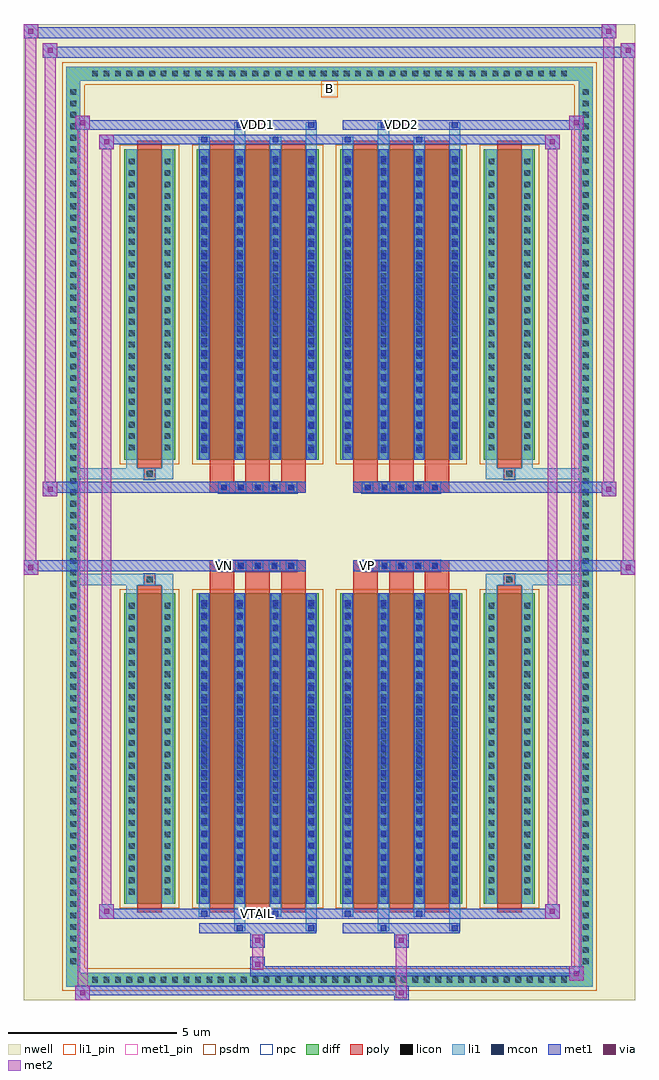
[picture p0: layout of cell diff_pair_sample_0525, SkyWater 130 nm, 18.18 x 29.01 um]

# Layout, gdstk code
import gdstk
lib = gdstk.Library(unit=1e-6, precision=5e-09)
def R(c, l, rs):  # rectangles x0, y0, x1, y1
    for r in rs: c.add(gdstk.rectangle(r[:2], r[2:], *l))
def A(c, l, x, y, w, h, nx, ny, dx, dy):  # array of equal rectangles
    R(c, l, [(x+i*dx, y+j*dy, x+i*dx+w, y+j*dy+h) for i in range(nx) for j in range(ny)])
def P(c, l, *ps):  # polygons
    for p in ps: c.add(gdstk.Polygon(p, *l))
nwell = (64, 20)
diff = (65, 20)
poly = (66, 20)
licon = (66, 44)
li1_pin = (67, 16)
li1 = (67, 20)
mcon = (67, 44)
met1_pin = (68, 16)
met1 = (68, 20)
via = (68, 44)
met2 = (69, 20)
psdm = (94, 20)
npc = (95, 20)

diff_pair_sample_0525 = lib.new_cell('diff_pair_sample_0525')
R(diff_pair_sample_0525, nwell, [(-9.09,-14.07,9.09,14.94), (-6.41,-12.26,-0.01,-0.8), (0.01,-12.26,6.41,-0.8), (-6.41,0.8,-0.01,12.26), (0.01,0.8,6.41,12.26)])
A(diff_pair_sample_0525, diff, -7.175, -13.67, 0.41, 0.41, 42, 2, 0.34, 26.93)
A(diff_pair_sample_0525, diff, -7.82, -13.125, 0.41, 0.41, 1, 77, 0, 0.34)
A(diff_pair_sample_0525, diff, 7.41, -13.125, 0.41, 0.41, 1, 77, 0, 0.34)
R(diff_pair_sample_0525, diff, [(-7.175,-13.67,7.175,-13.26), (-7.82,-13.125,-7.41,13.125), (7.41,-13.125,7.82,13.125), (-6.1,-11.215,-4.59,-1.985), (-3.95,-11.215,-0.32,-1.985), (0.32,-11.215,3.95,-1.985), (4.59,-11.215,6.1,-1.985), (-6.1,1.985,-4.59,11.215), (-3.95,1.985,-0.32,11.215), (0.32,1.985,3.95,11.215), (4.59,1.985,6.1,11.215), (-7.175,13.26,7.175,13.67)])
P(diff_pair_sample_0525, diff, [(7.82,13.67),(-7.82,13.67),(-7.82,-13.26),(-7.41,-13.26),(-7.41,13.26),(7.41,13.26),(7.41,-13.26),(-7.41,-13.26),(-7.82,-13.26),(-7.82,-13.67),(7.82,-13.67)])
A(diff_pair_sample_0525, poly, -3.56, -11.465, 0.73, 9.73, 3, 2, 1.06, 13.2)
A(diff_pair_sample_0525, poly, 0.71, -11.465, 0.73, 9.73, 3, 2, 1.06, 13.2)
A(diff_pair_sample_0525, poly, -3.56, -1.735, 0.73, 0.405, 3, 2, 1.06, 3.065)
A(diff_pair_sample_0525, poly, 0.71, -1.735, 0.73, 0.405, 3, 2, 1.06, 3.065)
A(diff_pair_sample_0525, poly, -3.3, -1.33, 0.33, 0.33, 5, 2, 0.5, 2.33)
A(diff_pair_sample_0525, poly, 0.97, -1.33, 0.33, 0.33, 5, 2, 0.5, 2.33)
R(diff_pair_sample_0525, poly, [(-5.71,-11.465,-4.98,-1.735), (4.98,-11.465,5.71,-1.735), (-5.51,-1.735,-5.18,-1.405), (-5.51,-1.735,-5.18,-1.405), (5.18,-1.735,5.51,-1.405), (5.18,-1.735,5.51,-1.405), (-3.56,-1.33,-0.71,-1), (0.71,-1.33,3.56,-1), (-3.56,1,-0.71,1.33), (0.71,1,3.56,1.33), (-5.51,1.405,-5.18,1.735), (-5.51,1.405,-5.18,1.735), (5.18,1.405,5.51,1.735), (5.18,1.405,5.51,1.735), (-5.71,1.735,-4.98,11.465), (4.98,1.735,5.71,11.465)])
A(diff_pair_sample_0525, licon, -7.055, -13.55, 0.17, 0.17, 42, 2, 0.34, 26.93)
A(diff_pair_sample_0525, licon, -7.7, -13.005, 0.17, 0.17, 1, 77, 0, 0.34)
A(diff_pair_sample_0525, licon, 7.53, -13.005, 0.17, 0.17, 1, 77, 0, 0.34)
A(diff_pair_sample_0525, licon, -5.96, -10.935, 0.17, 0.17, 1, 26, 0, 0.34)
A(diff_pair_sample_0525, licon, -4.9, -10.935, 0.17, 0.17, 1, 26, 0, 0.34)
A(diff_pair_sample_0525, licon, -3.81, -10.935, 0.17, 0.17, 4, 26, 1.06, 0.34)
A(diff_pair_sample_0525, licon, 0.46, -10.935, 0.17, 0.17, 4, 26, 1.06, 0.34)
A(diff_pair_sample_0525, licon, 4.73, -10.935, 0.17, 0.17, 1, 26, 0, 0.34)
A(diff_pair_sample_0525, licon, 5.79, -10.935, 0.17, 0.17, 1, 26, 0, 0.34)
A(diff_pair_sample_0525, licon, -3.22, -1.25, 0.17, 0.17, 5, 2, 0.5, 2.33)
A(diff_pair_sample_0525, licon, 1.05, -1.25, 0.17, 0.17, 5, 2, 0.5, 2.33)
A(diff_pair_sample_0525, licon, -5.96, 2.265, 0.17, 0.17, 1, 26, 0, 0.34)
A(diff_pair_sample_0525, licon, -4.9, 2.265, 0.17, 0.17, 1, 26, 0, 0.34)
A(diff_pair_sample_0525, licon, -3.81, 2.265, 0.17, 0.17, 4, 26, 1.06, 0.34)
A(diff_pair_sample_0525, licon, 0.46, 2.265, 0.17, 0.17, 4, 26, 1.06, 0.34)
A(diff_pair_sample_0525, licon, 4.73, 2.265, 0.17, 0.17, 1, 26, 0, 0.34)
A(diff_pair_sample_0525, licon, 5.79, 2.265, 0.17, 0.17, 1, 26, 0, 0.34)
R(diff_pair_sample_0525, licon, [(-5.43,-1.655,-5.26,-1.485), (5.26,-1.655,5.43,-1.485), (-5.43,1.485,-5.26,1.655), (5.26,1.485,5.43,1.655)])
R(diff_pair_sample_0525, li1_pin, [(-0.25,12.76,0.25,13.26)])
A(diff_pair_sample_0525, li1, -7.135, -13.63, 0.33, 0.33, 42, 2, 0.34, 26.93)
A(diff_pair_sample_0525, li1, -7.78, -13.085, 0.33, 0.33, 1, 77, 0, 0.34)
A(diff_pair_sample_0525, li1, 7.45, -13.085, 0.33, 0.33, 1, 77, 0, 0.34)
A(diff_pair_sample_0525, li1, -3.89, -11.215, 0.33, 9.23, 4, 2, 1.06, 13.2)
A(diff_pair_sample_0525, li1, 0.38, -11.215, 0.33, 9.23, 4, 2, 1.06, 13.2)
A(diff_pair_sample_0525, li1, -6.04, -11.015, 0.33, 0.33, 1, 26, 0, 0.34)
A(diff_pair_sample_0525, li1, -4.98, -11.015, 0.33, 0.33, 1, 26, 0, 0.34)
A(diff_pair_sample_0525, li1, -3.89, -11.015, 0.33, 0.33, 4, 26, 1.06, 0.34)
A(diff_pair_sample_0525, li1, 0.38, -11.015, 0.33, 0.33, 4, 26, 1.06, 0.34)
A(diff_pair_sample_0525, li1, 4.65, -11.015, 0.33, 0.33, 1, 26, 0, 0.34)
A(diff_pair_sample_0525, li1, 5.71, -11.015, 0.33, 0.33, 1, 26, 0, 0.34)
A(diff_pair_sample_0525, li1, -3.81, -11.005, 0.17, 0.17, 4, 25, 1.06, 0.36)
A(diff_pair_sample_0525, li1, -3.81, -11.005, 0.17, 8.81, 4, 2, 1.06, 13.2)
A(diff_pair_sample_0525, li1, 0.46, -11.005, 0.17, 0.17, 4, 25, 1.06, 0.36)
A(diff_pair_sample_0525, li1, 0.46, -11.005, 0.17, 8.81, 4, 2, 1.06, 13.2)
A(diff_pair_sample_0525, li1, -3.3, -1.33, 0.33, 0.33, 5, 2, 0.5, 2.33)
A(diff_pair_sample_0525, li1, 0.97, -1.33, 0.33, 0.33, 5, 2, 0.5, 2.33)
A(diff_pair_sample_0525, li1, -6.04, 2.185, 0.33, 0.33, 1, 26, 0, 0.34)
A(diff_pair_sample_0525, li1, -4.98, 2.185, 0.33, 0.33, 1, 26, 0, 0.34)
A(diff_pair_sample_0525, li1, -3.89, 2.185, 0.33, 0.33, 4, 26, 1.06, 0.34)
A(diff_pair_sample_0525, li1, 0.38, 2.185, 0.33, 0.33, 4, 26, 1.06, 0.34)
A(diff_pair_sample_0525, li1, 4.65, 2.185, 0.33, 0.33, 1, 26, 0, 0.34)
A(diff_pair_sample_0525, li1, 5.71, 2.185, 0.33, 0.33, 1, 26, 0, 0.34)
A(diff_pair_sample_0525, li1, -3.81, 2.195, 0.17, 0.17, 4, 25, 1.06, 0.36)
A(diff_pair_sample_0525, li1, 0.46, 2.195, 0.17, 0.17, 4, 25, 1.06, 0.36)
R(diff_pair_sample_0525, li1, [(-7.82,-13.67,-7.41,-13.26), (-7.82,-13.67,-7.41,-13.26), (-7.41,-13.67,7.41,-13.26), (7.41,-13.67,7.82,-13.26), (7.41,-13.67,7.82,-13.26), (-7.82,-13.26,-7.41,13.26), (7.41,-13.26,7.82,13.26), (-2.83,-12.02,-2.5,-11.215), (-2.75,-12.02,-2.58,-11.85), (-0.71,-12.02,-0.38,-11.215), (-0.63,-12.02,-0.46,-11.85), (1.44,-12.02,1.77,-11.215), (1.52,-12.02,1.69,-11.85), (3.56,-12.02,3.89,-11.215), (3.64,-12.02,3.81,-11.85), (-3.89,-11.59,-3.56,-11.215), (-3.81,-11.59,-3.64,-11.42), (-1.77,-11.59,-1.44,-11.215), (-1.69,-11.59,-1.52,-11.42), (0.38,-11.59,0.71,-11.215), (0.46,-11.59,0.63,-11.42), (2.5,-11.59,2.83,-11.215), (2.58,-11.59,2.75,-11.42), (-6.04,-11.215,-5.71,-1.985), (-4.98,-11.215,-4.65,-1.985), (4.65,-11.215,4.98,-1.985), (5.71,-11.215,6.04,-1.985), (-6.04,-1.985,-5.71,-1.405), (-4.98,-1.985,-4.65,-1.405), (4.65,-1.985,4.98,-1.405), (5.71,-1.985,6.04,-1.405), (-7.82,-1.735,-5.51,-1.405), (-6.04,-1.735,-5.51,-1.405), (-5.51,-1.735,-5.18,-1.405), (-5.18,-1.735,-4.65,-1.405), (4.65,-1.735,5.18,-1.405), (5.18,-1.735,5.51,-1.405), (5.18,-1.735,7.82,-1.405), (5.51,-1.735,6.04,-1.405), (-7.82,1.405,-5.51,1.735), (-6.04,1.405,-5.51,1.735), (-6.04,1.405,-5.71,1.985), (-5.51,1.405,-5.18,1.735), (-5.18,1.405,-4.65,1.735), (-4.98,1.405,-4.65,1.985), (4.65,1.405,5.18,1.735), (4.65,1.405,4.98,1.985), (5.18,1.405,5.51,1.735), (5.18,1.405,7.82,1.735), (5.51,1.405,6.04,1.735), (5.71,1.405,6.04,1.985), (-6.04,1.985,-5.71,11.215), (-4.98,1.985,-4.65,11.215), (4.65,1.985,4.98,11.215), (5.71,1.985,6.04,11.215), (-3.89,11.215,-3.56,11.59), (-2.83,11.215,-2.5,12.02), (-1.77,11.215,-1.44,11.59), (-0.71,11.215,-0.38,12.02), (0.38,11.215,0.71,11.59), (1.44,11.215,1.77,12.02), (2.5,11.215,2.83,11.59), (3.56,11.215,3.89,12.02), (-3.81,11.42,-3.64,11.59), (-1.69,11.42,-1.52,11.59), (0.46,11.42,0.63,11.59), (2.58,11.42,2.75,11.59), (-2.75,11.85,-2.58,12.02), (-0.63,11.85,-0.46,12.02), (1.52,11.85,1.69,12.02), (3.64,11.85,3.81,12.02), (-7.82,13.26,-7.41,13.67), (-7.82,13.26,-7.41,13.67), (-7.41,13.26,7.41,13.67), (7.41,13.26,7.82,13.67), (7.41,13.26,7.82,13.67)])
A(diff_pair_sample_0525, mcon, -3.81, -11.005, 0.17, 0.17, 4, 25, 1.06, 0.36)
A(diff_pair_sample_0525, mcon, 0.46, -11.005, 0.17, 0.17, 4, 25, 1.06, 0.36)
A(diff_pair_sample_0525, mcon, -3.22, -1.25, 0.17, 0.17, 5, 2, 0.5, 2.33)
A(diff_pair_sample_0525, mcon, 1.05, -1.25, 0.17, 0.17, 5, 2, 0.5, 2.33)
A(diff_pair_sample_0525, mcon, -3.81, 2.195, 0.17, 0.17, 4, 25, 1.06, 0.36)
A(diff_pair_sample_0525, mcon, 0.46, 2.195, 0.17, 0.17, 4, 25, 1.06, 0.36)
R(diff_pair_sample_0525, mcon, [(-2.75,-12.02,-2.58,-11.85), (-0.63,-12.02,-0.46,-11.85), (1.52,-12.02,1.69,-11.85), (3.64,-12.02,3.81,-11.85), (-3.81,-11.59,-3.64,-11.42), (-1.69,-11.59,-1.52,-11.42), (0.46,-11.59,0.63,-11.42), (2.58,-11.59,2.75,-11.42), (-3.81,11.42,-3.64,11.59), (-1.69,11.42,-1.52,11.59), (0.46,11.42,0.63,11.59), (2.58,11.42,2.75,11.59), (-2.75,11.85,-2.58,12.02), (-0.63,11.85,-0.46,12.02), (1.52,11.85,1.69,12.02), (3.64,11.85,3.81,12.02)])
R(diff_pair_sample_0525, met1_pin, [(-2.27,-11.63,-2,-11.36), (-3.27,-1.29,-3,-1.02), (1,-1.29,1.27,-1.02), (-2.27,11.81,-2,12.08), (2,11.81,2.27,12.08)])
A(diff_pair_sample_0525, met1, -3.87, -11.215, 0.29, 9.23, 4, 2, 1.06, 13.2)
A(diff_pair_sample_0525, met1, 0.4, -11.215, 0.29, 9.23, 4, 2, 1.06, 13.2)
A(diff_pair_sample_0525, met1, -3.87, -11.065, 0.29, 0.29, 4, 25, 1.06, 0.36)
A(diff_pair_sample_0525, met1, 0.4, -11.065, 0.29, 0.29, 4, 25, 1.06, 0.36)
A(diff_pair_sample_0525, met1, -3.28, -1.31, 0.29, 0.29, 5, 2, 0.5, 2.33)
A(diff_pair_sample_0525, met1, 0.99, -1.31, 0.29, 0.29, 5, 2, 0.5, 2.33)
A(diff_pair_sample_0525, met1, -3.87, 2.135, 0.29, 0.29, 4, 25, 1.06, 0.36)
A(diff_pair_sample_0525, met1, 0.4, 2.135, 0.29, 0.29, 4, 25, 1.06, 0.36)
R(diff_pair_sample_0525, met1, [(-7.55,-14.07,-7.12,-13.64), (1.92,-14.07,2.35,-13.64), (-7.55,-13.93,2.35,-13.64), (7.12,-13.5,7.55,-13.07), (-2.35,-13.36,7.55,-13.07), (-2.35,-13.22,-1.92,-12.79), (-2.35,-12.51,-1.92,-12.08), (1.92,-12.51,2.35,-12.08), (-3.87,-12.08,-0.4,-11.79), (-2.81,-12.08,-2.52,-11.79), (-0.69,-12.08,-0.4,-11.79), (0.4,-12.08,3.87,-11.79), (1.46,-12.08,1.75,-11.79), (3.58,-12.08,3.87,-11.79), (-6.84,-11.65,-6.41,-11.22), (-6.84,-11.65,-3.87,-11.36), (-3.87,-11.65,-3.58,-11.36), (-3.87,-11.65,-0.4,-11.36), (-1.75,-11.65,-1.46,-11.36), (-0.4,-11.65,0.4,-11.36), (0.4,-11.65,0.69,-11.36), (0.4,-11.65,3.87,-11.36), (2.52,-11.65,2.81,-11.36), (3.87,-11.65,6.84,-11.36), (6.41,-11.65,6.84,-11.22), (-9.09,-1.43,-8.66,-1), (8.66,-1.43,9.09,-1), (-9.09,-1.33,-0.71,-1), (-3.56,-1.33,-0.71,-1), (0.71,-1.33,3.56,-1), (0.71,-1.33,9.09,-1), (-8.52,0.9,-8.09,1.33), (8.09,0.9,8.52,1.33), (-8.52,1,-3.56,1.33), (-3.56,1,-0.71,1.33), (0.71,1,3.56,1.33), (3.56,1,8.52,1.33), (-6.84,11.22,-6.41,11.65), (6.41,11.22,6.84,11.65), (-6.84,11.36,-3.87,11.65), (-3.87,11.36,-3.58,11.65), (-3.87,11.36,-0.4,11.65), (-1.75,11.36,-1.46,11.65), (-0.4,11.36,0.4,11.65), (0.4,11.36,0.69,11.65), (0.4,11.36,3.87,11.65), (2.52,11.36,2.81,11.65), (3.87,11.36,6.84,11.65), (-7.55,11.79,-7.12,12.22), (-7.55,11.79,-3.87,12.08), (-3.87,11.79,-0.4,12.08), (-2.81,11.79,-2.52,12.08), (-0.69,11.79,-0.4,12.08), (0.4,11.79,3.87,12.08), (1.46,11.79,1.75,12.08), (3.58,11.79,3.87,12.08), (3.87,11.79,7.55,12.08), (7.12,11.79,7.55,12.22), (-8.52,13.94,-8.09,14.37), (-8.52,13.94,-6.41,14.27), (-6.41,13.94,6.41,14.27), (6.41,13.94,9.09,14.27), (8.66,13.94,9.09,14.37), (-9.09,14.51,-8.66,14.94), (-9.09,14.51,-6.41,14.84), (-6.41,14.51,6.41,14.84), (6.41,14.51,8.52,14.84), (8.09,14.51,8.52,14.94)])
R(diff_pair_sample_0525, via, [(-7.41,-13.93,-7.26,-13.78), (2.06,-13.93,2.21,-13.78), (7.26,-13.36,7.41,-13.21), (-2.21,-13.08,-2.06,-12.93), (-2.21,-12.37,-2.06,-12.22), (2.06,-12.37,2.21,-12.22), (-6.7,-11.51,-6.55,-11.36), (6.55,-11.51,6.7,-11.36), (-8.95,-1.29,-8.8,-1.14), (8.8,-1.29,8.95,-1.14), (-8.38,1.04,-8.23,1.19), (8.23,1.04,8.38,1.19), (-6.7,11.36,-6.55,11.51), (6.55,11.36,6.7,11.51), (-7.41,11.93,-7.26,12.08), (7.26,11.93,7.41,12.08), (-8.38,14.08,-8.23,14.23), (8.8,14.08,8.95,14.23), (-8.95,14.65,-8.8,14.8), (8.23,14.65,8.38,14.8)])
R(diff_pair_sample_0525, met2, [(-7.55,-14.07,-7.12,-13.64), (-7.48,-14.07,-7.19,12.22), (-7.19,-14.07,-7.12,-13.64), (-7.5,-14.02,-7.17,-13.69), (1.97,-14.02,2.3,-13.69), (1.97,-13.69,2.3,-12.46), (7.12,-13.5,7.55,-13.07), (7.19,-13.5,7.48,12.22), (7.48,-13.5,7.55,-13.07), (7.17,-13.45,7.5,-13.12), (-2.3,-13.17,-1.97,-12.84), (-2.3,-12.84,-1.97,-12.46), (-2.3,-12.46,-1.97,-12.13), (1.97,-12.46,2.3,-12.13), (-6.84,-11.65,-6.41,-11.22), (-6.77,-11.65,-6.48,11.65), (-6.48,-11.65,-6.41,-11.22), (6.41,-11.65,6.84,-11.22), (6.48,-11.65,6.77,11.65), (6.77,-11.65,6.84,-11.22), (-6.79,-11.6,-6.46,-11.27), (6.46,-11.6,6.79,-11.27), (-9.09,-1.43,-8.66,-1), (-9.04,-1.43,-8.71,14.94), (-8.71,-1.43,-8.66,-1), (8.66,-1.43,9.09,-1), (8.71,-1.43,9.04,14.37), (9.04,-1.43,9.09,-1), (-9.04,-1.38,-8.71,-1.05), (8.71,-1.38,9.04,-1.05), (-8.52,0.9,-8.09,1.33), (-8.47,0.9,-8.14,14.37), (-8.14,0.9,-8.09,1.33), (8.09,0.9,8.52,1.33), (8.14,0.9,8.47,14.94), (8.47,0.9,8.52,1.33), (-8.47,0.95,-8.14,1.28), (8.14,0.95,8.47,1.28), (-6.84,11.22,-6.41,11.65), (-6.48,11.22,-6.41,11.65), (6.41,11.22,6.84,11.65), (6.77,11.22,6.84,11.65), (-6.79,11.27,-6.46,11.6), (6.46,11.27,6.79,11.6), (-7.55,11.79,-7.12,12.22), (-7.19,11.79,-7.12,12.22), (7.12,11.79,7.55,12.22), (7.48,11.79,7.55,12.22), (-7.5,11.84,-7.17,12.17), (7.17,11.84,7.5,12.17), (-8.52,13.94,-8.09,14.37), (-8.14,13.94,-8.09,14.37), (8.66,13.94,9.09,14.37), (9.04,13.94,9.09,14.37), (-8.47,13.99,-8.14,14.32), (8.71,13.99,9.04,14.32), (-9.09,14.51,-8.66,14.94), (-8.71,14.51,-8.66,14.94), (8.09,14.51,8.52,14.94), (8.47,14.51,8.52,14.94), (-9.04,14.56,-8.71,14.89), (8.14,14.56,8.47,14.89)])
R(diff_pair_sample_0525, psdm, [(-6.23,-11.345,-4.46,-1.855), (-4.08,-11.345,-0.19,-1.855), (0.19,-11.345,4.08,-1.855), (4.46,-11.345,6.23,-1.855), (-6.23,1.855,-4.46,11.345), (-4.08,1.855,-0.19,11.345), (0.19,1.855,4.08,11.345), (4.46,1.855,6.23,11.345)])
P(diff_pair_sample_0525, psdm, [(7.95,13.8),(-7.95,13.8),(-7.95,-13.13),(-7.28,-13.13),(-7.28,13.13),(7.28,13.13),(7.28,-13.13),(-7.28,-13.13),(-7.95,-13.13),(-7.95,-13.8),(7.95,-13.8)])
A(diff_pair_sample_0525, npc, -3.32, -1.35, 0.37, 0.37, 5, 2, 0.5, 2.33)
A(diff_pair_sample_0525, npc, 0.95, -1.35, 0.37, 0.37, 5, 2, 0.5, 2.33)
R(diff_pair_sample_0525, npc, [(-5.53,-1.755,-5.16,-1.385), (5.16,-1.755,5.53,-1.385), (-3.32,-1.35,-2.45,-0.98), (-3.32,-1.35,-2.45,-0.98), (-2.82,-1.35,-1.95,-0.98), (-2.82,-1.35,-1.95,-0.98), (-2.32,-1.35,-1.45,-0.98), (-2.32,-1.35,-1.45,-0.98), (-1.82,-1.35,-0.95,-0.98), (-1.82,-1.35,-0.95,-0.98), (0.95,-1.35,1.82,-0.98), (0.95,-1.35,1.82,-0.98), (1.45,-1.35,2.32,-0.98), (1.45,-1.35,2.32,-0.98), (1.95,-1.35,2.82,-0.98), (1.95,-1.35,2.82,-0.98), (2.45,-1.35,3.32,-0.98), (2.45,-1.35,3.32,-0.98), (-3.32,0.98,-2.45,1.35), (-3.32,0.98,-2.45,1.35), (-2.82,0.98,-1.95,1.35), (-2.82,0.98,-1.95,1.35), (-2.32,0.98,-1.45,1.35), (-2.32,0.98,-1.45,1.35), (-1.82,0.98,-0.95,1.35), (-1.82,0.98,-0.95,1.35), (0.95,0.98,1.82,1.35), (0.95,0.98,1.82,1.35), (1.45,0.98,2.32,1.35), (1.45,0.98,2.32,1.35), (1.95,0.98,2.82,1.35), (1.95,0.98,2.82,1.35), (2.45,0.98,3.32,1.35), (2.45,0.98,3.32,1.35), (-5.53,1.385,-5.16,1.755), (5.16,1.385,5.53,1.755)])
diff_pair_sample_0525.add(gdstk.Label('VTAIL', (-2.135,-11.495), layer=68, texttype=5))
diff_pair_sample_0525.add(gdstk.Label('VN', (-3.135,-1.155), layer=68, texttype=5))
diff_pair_sample_0525.add(gdstk.Label('VP', (1.135,-1.155), layer=68, texttype=5))
diff_pair_sample_0525.add(gdstk.Label('B', (0,13.01), layer=67, texttype=5))
diff_pair_sample_0525.add(gdstk.Label('VDD2', (2.135,11.945), layer=68, texttype=5))
diff_pair_sample_0525.add(gdstk.Label('VDD1', (-2.135,11.945), layer=68, texttype=5))

lib.write_gds('diff_pair_sample_0525.gds')
